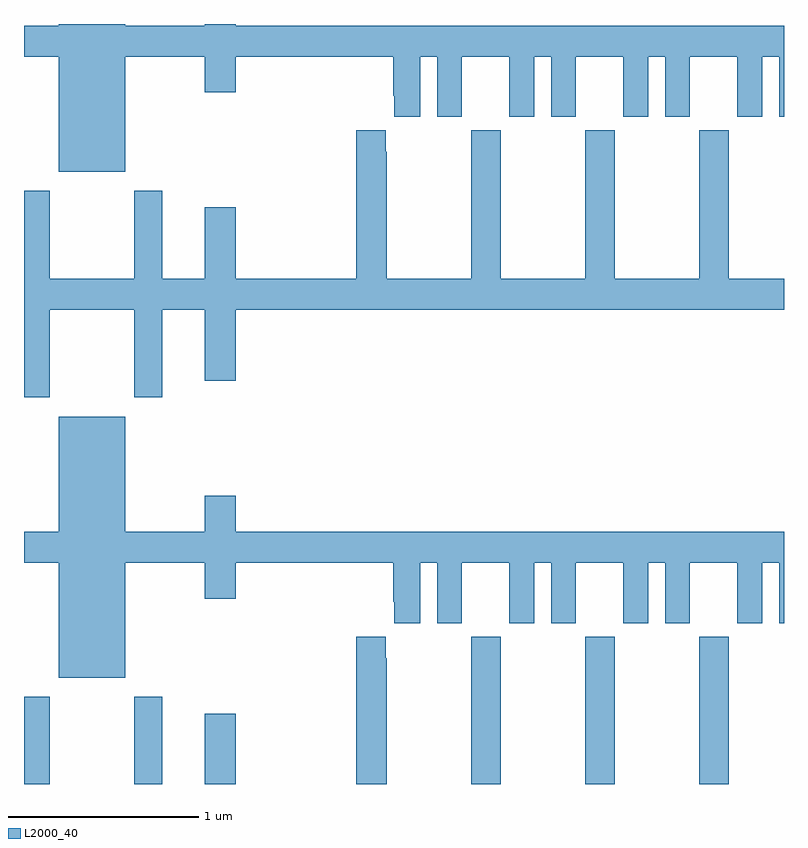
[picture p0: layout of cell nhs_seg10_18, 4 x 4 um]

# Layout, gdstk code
import gdstk
lib = gdstk.Library(unit=1e-6, precision=1e-09)
def R(c, l, rs):  # rectangles x0, y0, x1, y1
    for r in rs: c.add(gdstk.rectangle(r[:2], r[2:], *l))
def A(c, l, x, y, w, h, nx, ny, dx, dy):  # array of equal rectangles
    R(c, l, [(x+i*dx, y+j*dy, x+i*dx+w, y+j*dy+h) for i in range(nx) for j in range(ny)])
def P(c, l, *ps):  # polygons
    for p in ps: c.add(gdstk.Polygon(p, *l))
L2000_40 = (2000, 40)

nhs_seg10_18 = lib.new_cell('nhs_seg10_18')
A(nhs_seg10_18, L2000_40, 113.353, 1284.5, 0.155, 0.776, 3, 1, 0.6, 0)
R(nhs_seg10_18, L2000_40, [(111,1284.5,111.135,1284.958), (111.58,1284.5,111.727,1284.958), (111.95,1284.5,112.114,1284.871)])
P(nhs_seg10_18, L2000_40, [(111.532,1288.328),(111.95,1288.328),(111.95,1288.14),(112.114,1288.14),(112.114,1288.328),(112.943,1288.328),(112.943,1288.123),(112.949,1288.123),(112.949,1288.011),(113.086,1288.011),(113.086,1288.328),(113.174,1288.328),(113.174,1288.011),(113.305,1288.011),(113.305,1288.328),(113.555,1288.328),(113.555,1288.011),(113.686,1288.011),(113.686,1288.328),(113.774,1288.328),(113.774,1288.011),(113.905,1288.011),(113.905,1288.328),(114.155,1288.328),(114.155,1288.011),(114.286,1288.011),(114.286,1288.328),(114.374,1288.328),(114.374,1288.011),(114.505,1288.011),(114.505,1288.328),(114.755,1288.328),(114.755,1288.011),(114.886,1288.011),(114.886,1288.328),(114.974,1288.328),(114.974,1288.011),(115,1288.011),(115,1288.492),(112.114,1288.492),(112.114,1288.5),(111.95,1288.5),(111.95,1288.492),(111.532,1288.492),(111.532,1288.5),(111.182,1288.5),(111.182,1288.492),(111,1288.492),(111,1288.328),(111.182,1288.328),(111.182,1287.722),(111.532,1287.722)],
  [(111.135,1286.996),(111.58,1286.996),(111.58,1286.535),(111.727,1286.535),(111.727,1286.996),(111.95,1286.996),(111.95,1286.622),(112.114,1286.622),(112.114,1286.996),(115,1286.996),(115,1287.16),(114.708,1287.16),(114.708,1287.94),(114.553,1287.94),(114.553,1287.16),(114.108,1287.16),(114.108,1287.94),(113.953,1287.94),(113.953,1287.16),(113.508,1287.16),(113.508,1287.94),(113.353,1287.94),(113.353,1287.16),(112.908,1287.16),(112.908,1287.827),(112.903,1287.827),(112.903,1287.94),(112.748,1287.94),(112.748,1287.16),(112.114,1287.16),(112.114,1287.535),(111.95,1287.535),(111.95,1287.16),(111.727,1287.16),(111.727,1287.622),(111.58,1287.622),(111.58,1287.16),(111.135,1287.16),(111.135,1287.622),(111,1287.622),(111,1286.535),(111.135,1286.535)],
  [(111.532,1285.664),(111.95,1285.664),(111.95,1285.476),(112.114,1285.476),(112.114,1285.664),(112.943,1285.664),(112.943,1285.459),(112.949,1285.459),(112.949,1285.347),(113.086,1285.347),(113.086,1285.664),(113.174,1285.664),(113.174,1285.347),(113.305,1285.347),(113.305,1285.664),(113.555,1285.664),(113.555,1285.347),(113.686,1285.347),(113.686,1285.664),(113.774,1285.664),(113.774,1285.347),(113.905,1285.347),(113.905,1285.664),(114.155,1285.664),(114.155,1285.347),(114.286,1285.347),(114.286,1285.664),(114.374,1285.664),(114.374,1285.347),(114.505,1285.347),(114.505,1285.664),(114.755,1285.664),(114.755,1285.347),(114.886,1285.347),(114.886,1285.664),(114.974,1285.664),(114.974,1285.347),(115,1285.347),(115,1285.828),(112.114,1285.828),(112.114,1286.017),(111.95,1286.017),(111.95,1285.828),(111.532,1285.828),(111.532,1286.434),(111.182,1286.434),(111.182,1285.828),(111,1285.828),(111,1285.664),(111.182,1285.664),(111.182,1285.058),(111.532,1285.058)],
  [(112.908,1285.163),(112.903,1285.163),(112.903,1285.276),(112.748,1285.276),(112.748,1284.5),(112.908,1284.5)])

lib.write_gds('nhs_seg10_18.gds')
